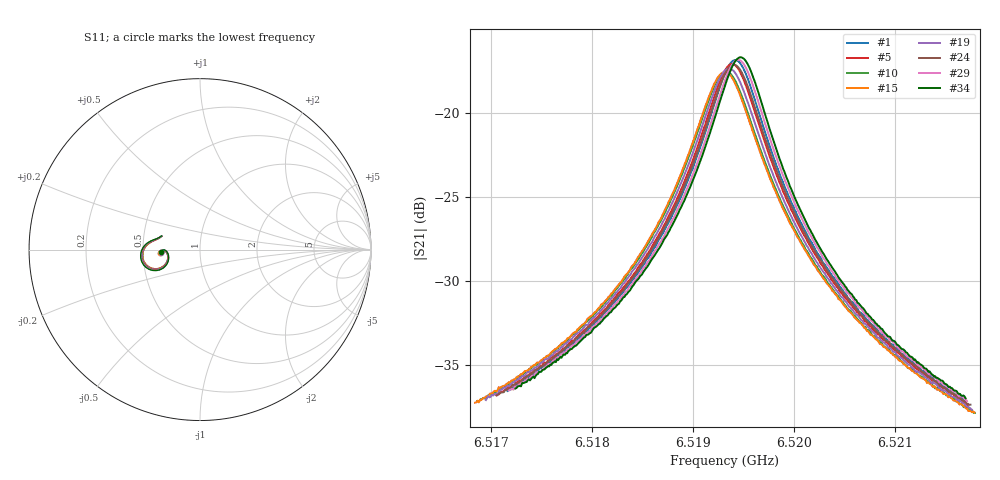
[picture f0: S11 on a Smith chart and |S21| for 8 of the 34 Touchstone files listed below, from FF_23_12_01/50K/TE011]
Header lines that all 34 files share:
#  HZ  S  RI  R  50.00
! Rohde & Schwarz Vector Network Analyzer
! Rohde-Schwarz,ZNB20-2Port,1311601062101988,3.16
! freq[Hz]  re:S11  im:S11  re:S21  im:S21  re:S12  im:S12  re:S22  im:S22
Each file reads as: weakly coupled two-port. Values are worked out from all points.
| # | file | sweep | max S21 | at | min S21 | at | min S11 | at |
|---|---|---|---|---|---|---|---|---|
| 1 | 11_1_48.0945_50.134552_5120.269_.s2p | 6.517151 GHz to 6.521688 GHz | -16.88 dB | 6.51942 GHz | -37.2 dB | 6.521688 GHz | -14.5 dB | 6.519012 GHz |
| 2 | 15_1_48.0981_50.1343956_7692.532_.s2p | 6.517137 GHz to 6.521693 GHz | -16.88 dB | 6.519415 GHz | -37.1 dB | 6.521681 GHz | -14.5 dB | 6.519005 GHz |
| 3 | 31_1_48.1033_50.1251602_17152.02_.s2p | 6.517091 GHz to 6.52171 GHz | -17.00 dB | 6.519401 GHz | -37.3 dB | 6.52171 GHz | -14.4 dB | 6.518985 GHz |
| 4 | 32_1_48.0989_50.1253891_17752.42_.s2p | 6.517088 GHz to 6.521711 GHz | -17.01 dB | 6.5194 GHz | -37.3 dB | 6.521711 GHz | -14.4 dB | 6.518984 GHz |
| 5 | 47_1_48.1019_50.1140785_27451.834_.s2p | 6.517051 GHz to 6.521723 GHz | -17.11 dB | 6.519387 GHz | -37.4 dB | 6.521723 GHz | -14.4 dB | 6.518955 GHz |
| 6 | 63_1_48.1005_50.0973511_37152.344_.s2p | 6.517035 GHz to 6.521714 GHz | -17.10 dB | 6.519375 GHz | -37.3 dB | 6.521714 GHz | -14.4 dB | 6.518953 GHz |
| 7 | 82_1_48.1007_50.080265_48359.109_.s2p | 6.516991 GHz to 6.521731 GHz | -17.23 dB | 6.519361 GHz | -37.5 dB | 6.521731 GHz | -14.4 dB | 6.518934 GHz |
| 8 | 83_1_48.1001_50.0785942_49191.828_.s2p | 6.516991 GHz to 6.521729 GHz | -17.24 dB | 6.51936 GHz | -37.6 dB | 6.521729 GHz | -14.4 dB | 6.518945 GHz |
| 9 | 108_1_48.1021_50.0569801_64101.543_.s2p | 6.516915 GHz to 6.521772 GHz | -17.42 dB | 6.519344 GHz | -37.7 dB | 6.521772 GHz | -14.4 dB | 6.518931 GHz |
| 10 | 129_1_48.0999_50.0370674_76798.516_.s2p | 6.51686 GHz to 6.521795 GHz | -17.56 dB | 6.519327 GHz | -37.9 dB | 6.521782 GHz | -14.3 dB | 6.518908 GHz |
| 11 | 148_1_48.1036_50.0195694_88348.961_.s2p | 6.516808 GHz to 6.521812 GHz | -17.67 dB | 6.51931 GHz | -38.0 dB | 6.521812 GHz | -14.3 dB | 6.51886 GHz |
| 12 | 155_1_48.0979_50.0198402_88215.695_.s2p | 6.51682 GHz to 6.521801 GHz | -17.63 dB | 6.51931 GHz | -38.0 dB | 6.521801 GHz | -14.3 dB | 6.518862 GHz |
| 13 | 161_1_48.0961_50.0229187_84760.359_.s2p | 6.516833 GHz to 6.521794 GHz | -17.59 dB | 6.519314 GHz | -37.9 dB | 6.521794 GHz | -14.3 dB | 6.518879 GHz |
| 14 | 162_1_48.1008_50.0250397_84171.672_.s2p | 6.516834 GHz to 6.521794 GHz | -17.59 dB | 6.519314 GHz | -37.9 dB | 6.521782 GHz | -14.3 dB | 6.51888 GHz |
| 15 | 163_1_48.1036_50.0285225_83352.484_.s2p | 6.51684 GHz to 6.52179 GHz | -17.59 dB | 6.519315 GHz | -37.9 dB | 6.52179 GHz | -14.3 dB | 6.518882 GHz |
| 16 | 190_1_48.0986_50.0569344_67353.625_.s2p | 6.516912 GHz to 6.521772 GHz | -17.44 dB | 6.519354 GHz | -37.7 dB | 6.52176 GHz | -14.4 dB | 6.518929 GHz |
| 17 | 191_1_48.0996_50.057991_66784.102_.s2p | 6.516915 GHz to 6.521773 GHz | -17.44 dB | 6.519344 GHz | -37.7 dB | 6.521773 GHz | -14.4 dB | 6.518907 GHz |
| 18 | 192_1_48.1017_50.0586777_66205.0_.s2p | 6.516916 GHz to 6.521774 GHz | -17.43 dB | 6.519345 GHz | -37.7 dB | 6.521774 GHz | -14.4 dB | 6.518908 GHz |
| 19 | 201_1_48.0993_50.0705948_60732.293_.s2p | 6.516948 GHz to 6.521764 GHz | -17.38 dB | 6.519368 GHz | -37.7 dB | 6.521764 GHz | -14.4 dB | 6.518934 GHz |
| 20 | 204_1_48.0999_50.0759735_58774.695_.s2p | 6.516957 GHz to 6.521764 GHz | -17.35 dB | 6.519361 GHz | -37.6 dB | 6.521764 GHz | -14.4 dB | 6.518928 GHz |
| 21 | 212_1_48.1021_50.0867882_54250.723_.s2p | 6.516971 GHz to 6.521771 GHz | -17.32 dB | 6.519371 GHz | -37.6 dB | 6.521771 GHz | -14.4 dB | 6.518939 GHz |
| 22 | 223_1_48.1015_50.0993462_47380.031_.s2p | 6.517007 GHz to 6.521762 GHz | -17.25 dB | 6.519385 GHz | -37.5 dB | 6.521762 GHz | -14.4 dB | 6.51898 GHz |
| 23 | 233_1_48.0983_50.1129341_41387.184_.s2p | 6.517033 GHz to 6.521761 GHz | -17.19 dB | 6.519397 GHz | -37.5 dB | 6.521761 GHz | -14.4 dB | 6.518971 GHz |
| 24 | 238_1_48.101_50.1173401_38491.309_.s2p | 6.517056 GHz to 6.52175 GHz | -17.16 dB | 6.519403 GHz | -37.4 dB | 6.521738 GHz | -14.4 dB | 6.51898 GHz |
| 25 | 249_1_48.1015_50.130909_31929.682_.s2p | 6.517086 GHz to 6.521746 GHz | -17.07 dB | 6.519416 GHz | -37.4 dB | 6.521746 GHz | -14.5 dB | 6.519008 GHz |
| 26 | 257_1_48.0973_50.1406288_27046.182_.s2p | 6.517109 GHz to 6.521741 GHz | -17.01 dB | 6.519425 GHz | -37.4 dB | 6.521741 GHz | -14.5 dB | 6.519008 GHz |
| 27 | 264_1_48.0976_50.1462288_22821.645_.s2p | 6.517139 GHz to 6.521728 GHz | -16.95 dB | 6.519434 GHz | -37.3 dB | 6.521728 GHz | -14.5 dB | 6.519021 GHz |
| 28 | 272_1_48.1011_50.1528664_18197.664_.s2p | 6.517162 GHz to 6.521725 GHz | -16.88 dB | 6.519443 GHz | -37.1 dB | 6.521713 GHz | -14.5 dB | 6.519033 GHz |
| 29 | 274_1_48.098_50.1545372_16830.105_.s2p | 6.517176 GHz to 6.521715 GHz | -16.85 dB | 6.519446 GHz | -37.2 dB | 6.521715 GHz | -14.5 dB | 6.519048 GHz |
| 30 | 276_1_48.0969_50.1573601_15670.914_.s2p | 6.517182 GHz to 6.521714 GHz | -16.85 dB | 6.519448 GHz | -37.1 dB | 6.521714 GHz | -14.5 dB | 6.51904 GHz |
| 31 | 282_1_48.0991_50.1640587_12261.841_.s2p | 6.517203 GHz to 6.521705 GHz | -16.79 dB | 6.519454 GHz | -37.1 dB | 6.521705 GHz | -14.5 dB | 6.519038 GHz |
| 32 | 283_1_48.1011_50.164669_11431.977_.s2p | 6.517206 GHz to 6.521705 GHz | -16.77 dB | 6.519455 GHz | -37.1 dB | 6.521705 GHz | -14.5 dB | 6.519062 GHz |
| 33 | 293_1_48.0949_50.1681366_5421.543_.s2p | 6.517233 GHz to 6.521701 GHz | -16.71 dB | 6.519467 GHz | -37.0 dB | 6.52169 GHz | -14.5 dB | 6.519065 GHz |
| 34 | 295_1_48.1013_50.168972_4281.64_.s2p | 6.51724 GHz to 6.521701 GHz | -16.71 dB | 6.519471 GHz | -37.0 dB | 6.521701 GHz | -14.5 dB | 6.519058 GHz |
